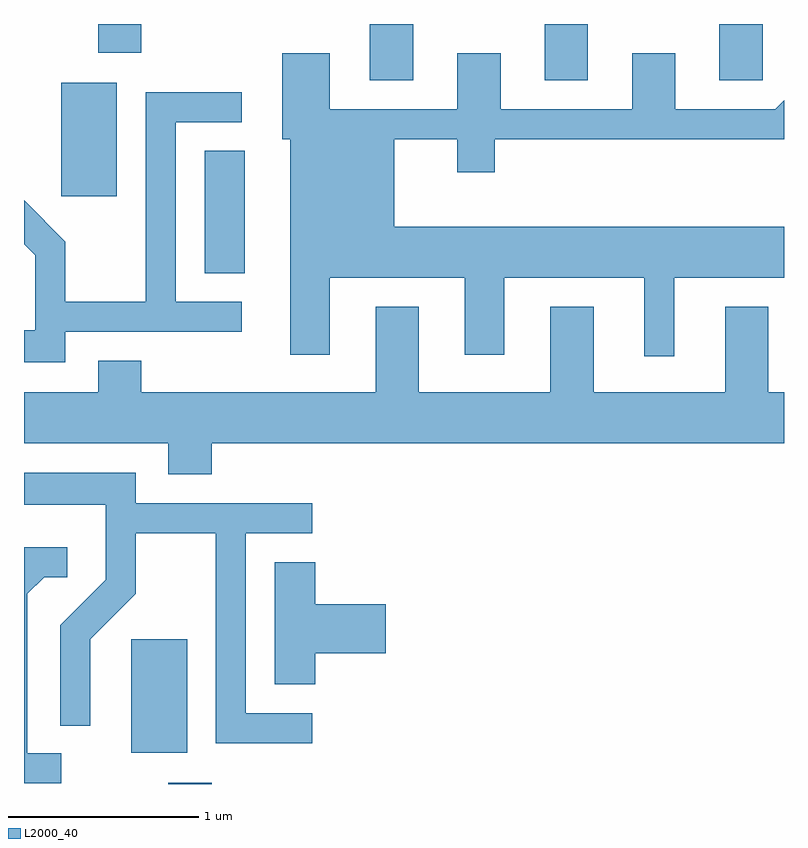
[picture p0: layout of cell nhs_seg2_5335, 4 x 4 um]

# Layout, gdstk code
import gdstk
lib = gdstk.Library(unit=1e-6, precision=1e-09)
def R(c, l, rs):  # rectangles x0, y0, x1, y1
    for r in rs: c.add(gdstk.rectangle(r[:2], r[2:], *l))
def A(c, l, x, y, w, h, nx, ny, dx, dy):  # array of equal rectangles
    R(c, l, [(x+i*dx, y+j*dy, x+i*dx+w, y+j*dy+h) for i in range(nx) for j in range(ny)])
def P(c, l, *ps):  # polygons
    for p in ps: c.add(gdstk.Polygon(p, *l))
L2000_40 = (2000, 40)

nhs_seg2_5335 = lib.new_cell('nhs_seg2_5335')
A(nhs_seg2_5335, L2000_40, 343.431, 1103.506, 0.228, 0.296, 3, 1, 0.92, 0)
R(nhs_seg2_5335, L2000_40, [(342.371,1099.802,342.599,1099.809), (342.176,1099.966,342.469,1100.564), (342.561,1102.491,342.774,1103.134), (341.806,1102.896,342.099,1103.494), (342.001,1103.651,342.229,1103.802)])
P(nhs_seg2_5335, L2000_40, [(345.034,1102.466),(345.611,1102.466),(345.611,1102.734),(343.559,1102.734),(343.559,1103.196),(343.891,1103.196),(343.891,1103.021),(344.089,1103.021),(344.089,1103.196),(345.611,1103.196),(345.611,1103.401),(345.564,1103.354),(345.039,1103.354),(345.039,1103.649),(344.811,1103.649),(344.811,1103.354),(344.119,1103.354),(344.119,1103.649),(343.891,1103.649),(343.891,1103.354),(343.219,1103.354),(343.219,1103.649),(342.971,1103.649),(342.971,1103.196),(343.011,1103.196),(343.011,1102.061),(343.219,1102.061),(343.219,1102.466),(343.931,1102.466),(343.931,1102.061),(344.139,1102.061),(344.139,1102.466),(344.876,1102.466),(344.876,1102.053),(345.034,1102.053)],
  [(341.829,1102.181),(342.758,1102.181),(342.758,1102.339),(342.409,1102.339),(342.409,1103.286),(342.758,1103.286),(342.758,1103.444),(342.251,1103.444),(342.251,1102.339),(341.829,1102.339),(341.829,1102.657),(341.611,1102.875),(341.611,1102.644),(341.671,1102.584),(341.671,1102.189),(341.611,1102.189),(341.611,1102.021),(341.829,1102.021)],
  [(342.599,1101.596),(345.611,1101.596),(345.611,1101.864),(345.529,1101.864),(345.529,1102.314),(345.301,1102.314),(345.301,1101.864),(344.609,1101.864),(344.609,1102.314),(344.381,1102.314),(344.381,1101.864),(343.689,1101.864),(343.689,1102.314),(343.461,1102.314),(343.461,1101.864),(342.229,1101.864),(342.229,1102.029),(342.001,1102.029),(342.001,1101.864),(341.611,1101.864),(341.611,1101.596),(342.371,1101.596),(342.371,1101.431),(342.599,1101.431)],
  [(343.128,1100.174),(342.779,1100.174),(342.779,1101.121),(343.128,1101.121),(343.128,1101.279),(342.199,1101.279),(342.199,1101.439),(341.611,1101.439),(341.611,1101.271),(342.041,1101.271),(342.041,1100.877),(341.801,1100.637),(341.801,1100.108),(341.959,1100.108),(341.959,1100.564),(342.199,1100.804),(342.199,1101.121),(342.621,1101.121),(342.621,1100.016),(343.128,1100.016)],
  [(341.808,1099.964),(341.629,1099.964),(341.629,1100.804),(341.717,1100.891),(341.838,1100.891),(341.838,1101.049),(341.611,1101.049),(341.611,1099.806),(341.808,1099.806)],
  [(343.144,1100.491),(343.514,1100.491),(343.514,1100.749),(343.144,1100.749),(343.144,1100.969),(342.931,1100.969),(342.931,1100.326),(343.144,1100.326)])

lib.write_gds('nhs_seg2_5335.gds')
